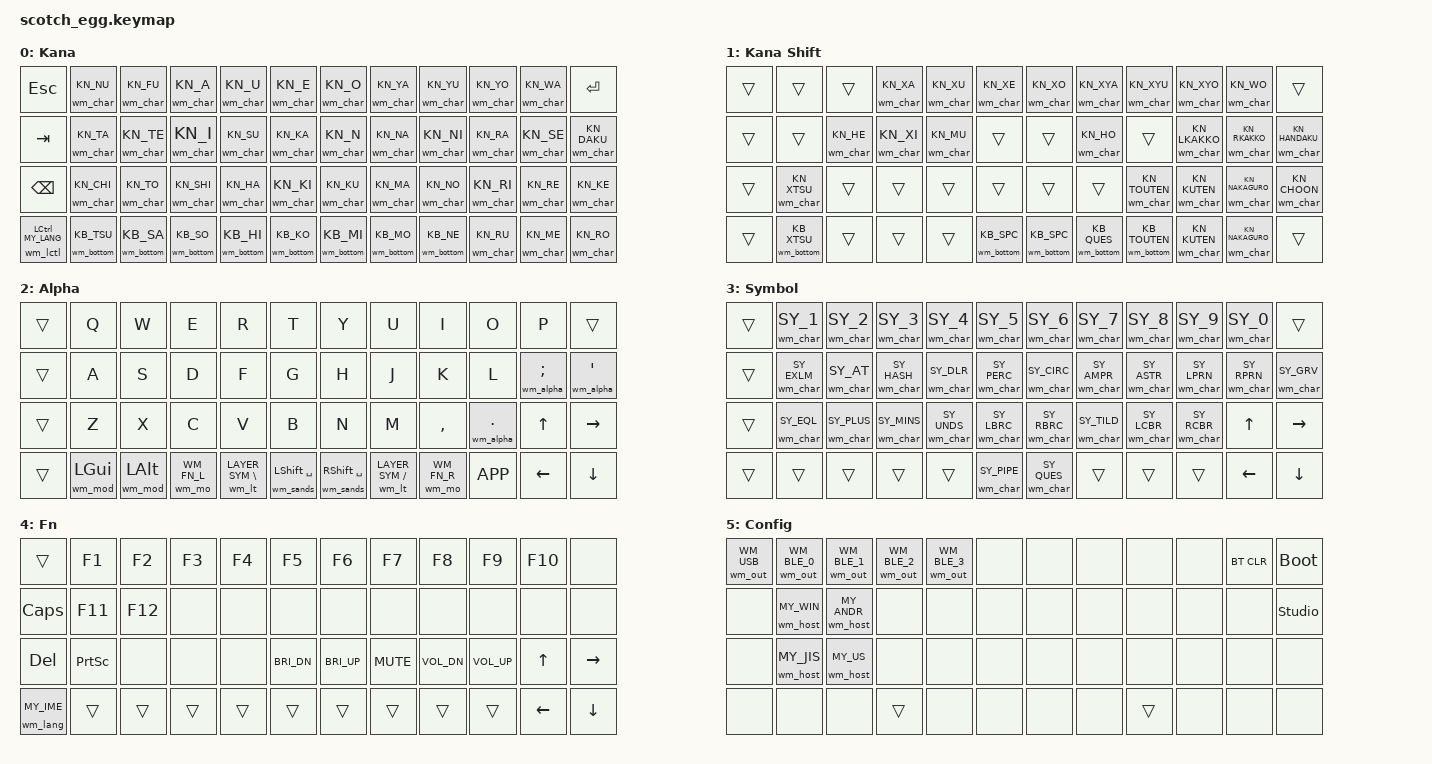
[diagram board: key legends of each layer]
/*
 * scotch-egg のキーマップ。windmill の technik (firmware/technik/keymaps/default/keymap.c)
 * の6レイヤーを移したもの。
 *
 * かなと英数がベースで、左下の MY_LCTL (&wm_lctl) のタップで入れ替わる。起動のたびに
 * 英数から始める。ZMK ではかながいちばん下のレイヤーで、英数ベースのときは英数レイヤーを
 * 上げてある。Ctrl / Win / Alt (&wm_mod) のホールド中も英数レイヤーが上がる。
 *
 * 文字キー (かな、Shift 面、記号) は &wm_char で、ホストへ送るキーは出力表が決める。
 * 英数レイヤーのキーと文字以外のキー (Enter や矢印など) は素のキー (&kp) のまま。
 * ただし英数レイヤーの ; ' \ は &wm_alpha で、接続先が JIS のときだけ1キー1出力で送る。
 * ピリオドも &wm_alpha で、接続先が Android のとき Win+. を Alt+. に読み替える。
 * Android では Win と Alt を重ねて出さない (&wm_mod と つ / さ のホールド)。
 *
 * かなレイヤー最下段 (つ さ そ ひ こ み も ね) は &wm_bottom で、タップで かな、ホールドで
 * Win / Alt / Fn / 記号 / Shift になる。150ms 未満で離せばタップ、250ms でホールド、
 * 150ms 以上で別のキーを押せばホールド。こ / み の同時押しの半角スペース (親指の組) は 7/9。
 *
 * 左右の Fn と記号 (&wm_mo) は、左右のどちらを押しているかを覚え、両方離れるまで
 * レイヤーを下ろさない。左右の Fn を両方押している間だけ設定レイヤーが上がる。
 */

#include <behaviors.dtsi>
#include <behaviors/windmill.dtsi>
#include <dt-bindings/zmk/bt.h>
#include <dt-bindings/zmk/keys.h>

/ {
    keymap {
        compatible = "zmk,keymap";

        /* 最下段の左端は MY_LCTL (タップで言語切替、ホールドで Ctrl + 英数レイヤー)。
         * つ さ そ ひ こ み も ね (&wm_bottom) のホールドは、つ / さ が Win / Alt (押している間、
         * 英数レイヤーを上げる)、そ / ね が左右の Fn、ひ / も が左右の記号、こ / み が
         * 左右の Shift + Shift 面 */
        kana_layer {
            display-name = "Kana";
            bindings = <
&kp ESC                 &wm_char KN_NU   &wm_char KN_FU   &wm_char KN_A    &wm_char KN_U    &wm_char KN_E    &wm_char KN_O    &wm_char KN_YA   &wm_char KN_YU   &wm_char KN_YO   &wm_char KN_WA   &kp RET
&kp TAB                 &wm_char KN_TA   &wm_char KN_TE   &wm_char KN_I    &wm_char KN_SU   &wm_char KN_KA   &wm_char KN_N    &wm_char KN_NA   &wm_char KN_NI   &wm_char KN_RA   &wm_char KN_SE   &wm_char KN_DAKU
&kp BSPC                &wm_char KN_CHI  &wm_char KN_TO   &wm_char KN_SHI  &wm_char KN_HA   &wm_char KN_KI   &wm_char KN_KU   &wm_char KN_MA   &wm_char KN_NO   &wm_char KN_RI   &wm_char KN_RE   &wm_char KN_KE
&wm_lctl LCTRL MY_LANG  &wm_bottom KB_TSU  &wm_bottom KB_SA  &wm_bottom KB_SO  &wm_bottom KB_HI  &wm_bottom KB_KO  &wm_bottom KB_MI  &wm_bottom KB_MO  &wm_bottom KB_NE  &wm_char KN_RU  &wm_char KN_ME  &wm_char KN_RO
            >;
        };

        /* 透過のキーは、下のかなを Shift を打ち消して出す。最下段 (っ 空 空 ？ 、) は
         * かなレイヤーの同じ位置のキーと同じホールドの役割で、タップで出るものだけが
         * 変わる。空 (こ / み の位置) は親指の組の半角スペースで、組は 7/9。組に
         * ならないタップは こ / み のまま出る */
        kana_shift_layer {
            display-name = "Kana Shift";
            bindings = <
&trans  &trans              &trans          &wm_char KN_XA   &wm_char KN_XU   &wm_char KN_XE      &wm_char KN_XO      &wm_char KN_XYA     &wm_char KN_XYU       &wm_char KN_XYO     &wm_char KN_WO        &trans
&trans  &trans              &wm_char KN_HE  &wm_char KN_XI   &wm_char KN_MU   &trans              &trans              &wm_char KN_HO      &trans                &wm_char KN_LKAKKO  &wm_char KN_RKAKKO    &wm_char KN_HANDAKU
&trans  &wm_char KN_XTSU    &trans          &trans           &trans           &trans              &trans              &trans              &wm_char KN_TOUTEN    &wm_char KN_KUTEN   &wm_char KN_NAKAGURO  &wm_char KN_CHOON
&trans  &wm_bottom KB_XTSU  &trans          &trans           &trans           &wm_bottom KB_SPC   &wm_bottom KB_SPC   &wm_bottom KB_QUES  &wm_bottom KB_TOUTEN  &wm_char KN_KUTEN   &wm_char KN_NAKAGURO  &trans
            >;
        };

        /* Win / Alt は、Ctrl のホールドで英数レイヤーが上がったときにここで引かれる。
         * そこでも数えないと、Ctrl を先に離した時点でかなへ落ちるので &wm_mod にする。
         * 左右の Fn は &wm_mo で、両方押している間は設定レイヤーが上がる */
        alpha_layer {
            display-name = "Alpha";
            bindings = <
&trans  &kp Q         &kp W         &kp E           &kp R                  &kp T                  &kp Y                  &kp U                  &kp I           &kp O      &kp P            &trans
&trans  &kp A         &kp S         &kp D           &kp F                  &kp G                  &kp H                  &kp J                  &kp K           &kp L      &wm_alpha SEMI   &wm_alpha SQT
&trans  &kp Z         &kp X         &kp C           &kp V                  &kp B                  &kp N                  &kp M                  &kp COMMA       &wm_alpha DOT  &kp UP       &kp RIGHT
&trans  &wm_mod LGUI  &wm_mod LALT  &wm_mo WM_FN_L  &wm_lt LAYER_SYM BSLH  &wm_sands LSHFT SPACE  &wm_sands RSHFT SPACE  &wm_lt LAYER_SYM FSLH  &wm_mo WM_FN_R  &kp K_APP  &kp LEFT         &kp DOWN
            >;
        };

        sym_layer {
            display-name = "Symbol";
            bindings = <
&trans  &wm_char SY_1     &wm_char SY_2     &wm_char SY_3     &wm_char SY_4     &wm_char SY_5     &wm_char SY_6     &wm_char SY_7     &wm_char SY_8     &wm_char SY_9     &wm_char SY_0     &trans
&trans  &wm_char SY_EXLM  &wm_char SY_AT    &wm_char SY_HASH  &wm_char SY_DLR   &wm_char SY_PERC  &wm_char SY_CIRC  &wm_char SY_AMPR  &wm_char SY_ASTR  &wm_char SY_LPRN  &wm_char SY_RPRN  &wm_char SY_GRV
&trans  &wm_char SY_EQL   &wm_char SY_PLUS  &wm_char SY_MINS  &wm_char SY_UNDS  &wm_char SY_LBRC  &wm_char SY_RBRC  &wm_char SY_TILD  &wm_char SY_LCBR  &wm_char SY_RCBR  &kp UP            &kp RIGHT
&trans  &trans            &trans            &trans            &trans            &wm_char SY_PIPE  &wm_char SY_QUES  &trans            &trans            &trans            &kp LEFT          &kp DOWN
            >;
        };

        /* 右上の MY_DARK (LED) は移さない。左下は MY_IME (Fn+Ctrl) で、ホストの IME だけを
         * 今のベースの側へ切り替える。
         * 最下段の左右の Fn の位置は透過にしておく。片方の Fn を押したままもう片方を
         * 押すと、下のレイヤーの &wm_mo に落ちて設定レイヤーが上がる */
        fn_layer {
            display-name = "Fn";
            bindings = <
&trans           &kp F1     &kp F2   &kp F3          &kp F4   &kp F5        &kp F6        &kp F7      &kp F8          &kp F9        &kp F10    &none
&kp CAPS         &kp F11    &kp F12  &none           &none    &none         &none         &none       &none           &none         &none      &none
&kp DEL          &kp PSCRN  &none    &none           &none    &kp C_BRI_DN  &kp C_BRI_UP  &kp C_MUTE  &kp C_VOL_DN    &kp C_VOL_UP  &kp UP     &kp RIGHT
&wm_lang MY_IME  &trans     &trans   &trans          &trans   &trans        &trans        &trans      &trans          &trans        &kp LEFT   &kp DOWN
            >;
        };

        /* 左右の Fn を両方押している間だけ上がる。配置は windmill の geonix41 の LAYER_CONF
         * に揃える。最上段の左から USB、BLE プロファイル 0〜3 (geonix41 の MD_USB /
         * MD_BLE1〜3 / MD_24G の位置) で、送り先の切替とプロファイルの選択を1キーで行う。
         * MY_WIN / MY_ANDR / MY_JIS / MY_US (&wm_host) は、いま繋がっている接続先 (USB か、
         * BLE のアクティブなプロファイル) のぶんだけを選ぶ。
         * geonix41 に無い &bt BT_CLR (最上段の右から2つ目) と &studio_unlock (2段目の
         * 右端) は ZMK のぶん。
         * Fn の位置は透過にしておくこと (src/layer.c 参照) */
        conf_layer {
            display-name = "Config";
            bindings = <
&wm_out WM_USB  &wm_out WM_BLE_0  &wm_out WM_BLE_1  &wm_out WM_BLE_2  &wm_out WM_BLE_3  &none  &none  &none  &none   &none  &bt BT_CLR  &bootloader
&none           &wm_host MY_WIN   &wm_host MY_ANDR  &none             &none             &none  &none  &none  &none   &none  &none       &studio_unlock
&none           &wm_host MY_JIS   &wm_host MY_US    &none             &none             &none  &none  &none  &none   &none  &none       &none
&none           &none             &none             &trans            &none             &none  &none  &none  &trans  &none  &none       &none
            >;
        };
    };
};
